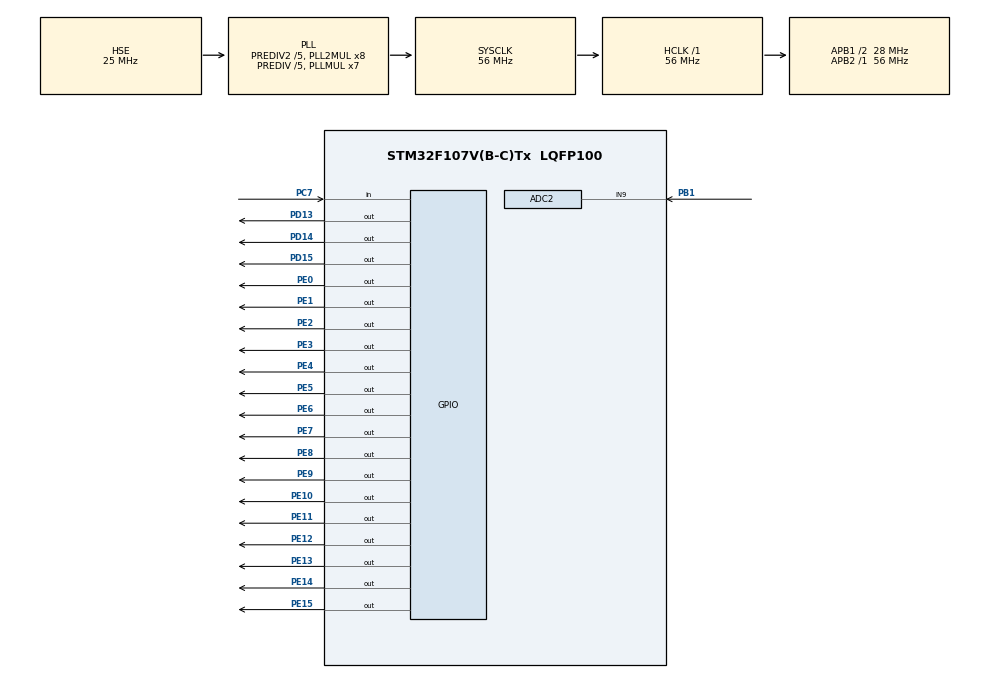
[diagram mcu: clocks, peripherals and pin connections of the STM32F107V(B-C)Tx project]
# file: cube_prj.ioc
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ADC2.Channel-0\#ChannelRegularConversion=ADC_CHANNEL_9
ADC2.ContinuousConvMode=ENABLE
ADC2.NbrOfConversionFlag=1
ADC2.Rank-0\#ChannelRegularConversion=1
ADC2.SamplingTime-0\#ChannelRegularConversion=ADC_SAMPLETIME_239CYCLES_5
Mcu.Family=STM32F1
Mcu.Name=STM32F107V(B-C)Tx
Mcu.Package=LQFP100
NVIC.ADC1_2_IRQn=true\:0\:0\:false\:false\:true
NVIC.PriorityGroup=NVIC_PRIORITYGROUP_1
OSC_IN.Mode=HSE-External-Oscillator
OSC_IN.Signal=RCC_OSC_IN
OSC_OUT.Mode=HSE-External-Oscillator
OSC_OUT.Signal=RCC_OSC_OUT
PA13.Mode=Serial_Wire
PA13.Signal=SYS_JTMS-SWDIO
PA14.Mode=Serial_Wire
PA14.Signal=SYS_JTCK-SWCLK
PB1.Signal=ADCx_IN9
PC14-OSC32_IN.Mode=LSE-External-Oscillator
PC14-OSC32_IN.Signal=RCC_OSC32_IN
PC15-OSC32_OUT.Mode=LSE-External-Oscillator
PC15-OSC32_OUT.Signal=RCC_OSC32_OUT
PC7.Signal=GPIO_Input
PD13.Signal=GPIO_Output
PD14.Signal=GPIO_Output
PD15.Signal=GPIO_Output
PE0.GPIO_Speed=GPIO_SPEED_HIGH
PE0.Signal=GPIO_Output
PE1.GPIO_Speed=GPIO_SPEED_HIGH
PE1.Signal=GPIO_Output
PE10.GPIO_Speed=GPIO_SPEED_HIGH
PE10.Signal=GPIO_Output
PE11.GPIO_Speed=GPIO_SPEED_HIGH
PE11.Signal=GPIO_Output
PE12.GPIO_Speed=GPIO_SPEED_HIGH
PE12.Signal=GPIO_Output
PE13.GPIO_Speed=GPIO_SPEED_HIGH
PE13.Signal=GPIO_Output
PE14.GPIO_Speed=GPIO_SPEED_HIGH
PE14.Signal=GPIO_Output
PE15.GPIO_Speed=GPIO_SPEED_HIGH
PE15.Signal=GPIO_Output
PE2.GPIO_Speed=GPIO_SPEED_HIGH
PE2.Signal=GPIO_Output
PE3.GPIO_Speed=GPIO_SPEED_HIGH
PE3.Signal=GPIO_Output
PE4.GPIO_Speed=GPIO_SPEED_HIGH
PE4.Signal=GPIO_Output
PE5.GPIO_Speed=GPIO_SPEED_HIGH
PE5.Signal=GPIO_Output
PE6.GPIO_Speed=GPIO_SPEED_HIGH
PE6.Signal=GPIO_Output
PE7.GPIO_Speed=GPIO_SPEED_HIGH
PE7.Signal=GPIO_Output
PE8.GPIO_Speed=GPIO_SPEED_HIGH
PE8.Signal=GPIO_Output
PE9.GPIO_Speed=GPIO_SPEED_HIGH
PE9.Signal=GPIO_Output
ProjectManager.HeapSize=0x400
ProjectManager.StackSize=0x200
ProjectManager.TargetToolchain=MDK-ARM V5
RCC.ADCPresc=RCC_ADCPCLK2_DIV4
RCC.AHBFreq_Value=56000000
RCC.APB1CLKDivider=RCC_HCLK_DIV2
RCC.APB1Freq_Value=28000000
RCC.APB1TimFreq_Value=56000000
RCC.APB2Freq_Value=56000000
RCC.APB2TimFreq_Value=56000000
RCC.HCLKFreq_Value=56000000
RCC.HSEDivPLL=RCC_HSE_PREDIV_DIV5
RCC.HSE_VALUE=25000000
RCC.HSIState=RCC_HSI_ON
RCC.PLLMUL=RCC_PLL_MUL7
RCC.PLLSourceVirtual=RCC_PLLSOURCE_HSE
RCC.Prediv1Source=RCC_PREDIV1_SOURCE_PLL2
RCC.Prediv2=RCC_HSE_PREDIV2_DIV5
RCC.SYSCLKFreq_VALUE=56000000
RCC.SYSCLKSource=RCC_SYSCLKSOURCE_PLLCLK
RCC.USBFreq_Value=37333333.333333336
SH.ADCx_IN9.0=ADC2_IN9,IN9
VP_CRC_VS_CRC.Mode=CRC_Activate
board=cube_prj

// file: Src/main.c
/**
  ******************************************************************************
  * File Name          : main.c
  * Description        : Main program body
  ******************************************************************************
  *
  * COPYRIGHT(c) 2016 STMicroelectronics
  *
  * Redistribution and use in source and binary forms, with or without modification,
  * are permitted provided that the following conditions are met:
  *   1. Redistributions of source code must retain the above copyright notice,
  *      this list of conditions and the following disclaimer.
  *   2. Redistributions in binary form must reproduce the above copyright notice,
  *      this list of conditions and the following disclaimer in the documentation
  *      and/or other materials provided with the distribution.
  *   3. Neither the name of STMicroelectronics nor the names of its contributors
  *      may be used to endorse or promote products derived from this software
  *      without specific prior written permission.
  *
  * THIS SOFTWARE IS PROVIDED BY THE COPYRIGHT HOLDERS AND CONTRIBUTORS "AS IS"
  * AND ANY EXPRESS OR IMPLIED WARRANTIES, INCLUDING, BUT NOT LIMITED TO, THE
  * IMPLIED WARRANTIES OF MERCHANTABILITY AND FITNESS FOR A PARTICULAR PURPOSE ARE
  * DISCLAIMED. IN NO EVENT SHALL THE COPYRIGHT HOLDER OR CONTRIBUTORS BE LIABLE
  * FOR ANY DIRECT, INDIRECT, INCIDENTAL, SPECIAL, EXEMPLARY, OR CONSEQUENTIAL
  * DAMAGES (INCLUDING, BUT NOT LIMITED TO, PROCUREMENT OF SUBSTITUTE GOODS OR
  * SERVICES; LOSS OF USE, DATA, OR PROFITS; OR BUSINESS INTERRUPTION) HOWEVER
  * CAUSED AND ON ANY THEORY OF LIABILITY, WHETHER IN CONTRACT, STRICT LIABILITY,
  * OR TORT (INCLUDING NEGLIGENCE OR OTHERWISE) ARISING IN ANY WAY OUT OF THE USE
  * OF THIS SOFTWARE, EVEN IF ADVISED OF THE POSSIBILITY OF SUCH DAMAGE.
  *
  ******************************************************************************
  */
#include "stm32f1xx_hal.h"
#include "adc.h"
#include "crc.h"
#include "gpio.h"

/* USER CODE BEGIN Includes */
#include "gui.h"            /**< STemwin */
#include "delay.h"
//#include "gui_clock.h"
//#include "clock.h"
//#include "led.h"
//#include "key.h"
//#include "app_led.h"
//#include "exti_dup.h"
//#include "tim_dup.h"
#include "adc_dup.h"

/* USER CODE END Includes */

/* USER CODE BEGIN PV */
/* Private variables ---------------------------------------------------------*/

/* USER CODE END PV */

void SystemClock_Config(void);

/* USER CODE BEGIN PFP */
/* Private function prototypes -----------------------------------------------*/

/* USER CODE END PFP */

/* USER CODE BEGIN 0 */

/**< 用于显示图片 */

/* USER CODE END 0 */

int main(void)
{

  /* USER CODE BEGIN 1 */
    uint32_t voltage = 0;

  /* USER CODE END 1 */

  /* MCU Configuration----------------------------------------------------------*/

  /* Reset of all peripherals, Initializes the Flash interface and the Systick. */
  HAL_Init();

  /* Configure the system clock */
  SystemClock_Config();

  /* Initialize all configured peripherals */
  MX_GPIO_Init();
  MX_CRC_Init();
  MX_ADC2_Init();

  /* USER CODE BEGIN 2 */
//    HAL_TIM_Base_Start_IT(&htim7);        /**< 使用定时器时添加 */
    HAL_ADCEx_Calibration_Start(&hadc2);
    HAL_ADC_Start_IT(&hadc2);

    GUI_Init();
    GUI_UC_SetEncodeUTF8();
    /** 显示电压值 */
    GUI_SetColor(GUI_RED);
    GUI_SetFont(&GUI_Font32B_ASCII);
    GUI_DispStringAt("Volt: ", 40, 150);
    GUI_DispStringAt(".", 136, 150);              /**< 小数点 */
    GUI_DispStringAt("V", 196, 150);              /**< 单位 */

//    draw_clock();

  /* USER CODE END 2 */

  /* Infinite loop */
  while (1)
  {

  /* USER CODE BEGIN 3 */
    if(read_adc_flag(ADC2_IN10))
    {
        voltage = ADC_get_value(&hadc2);
        GUI_DispDecAt(voltage / 1000,      120, 150, 1);  /**< 电压整数值 */
        GUI_DispDecAt(voltage % 1000 / 10, 145, 150, 2);  /**< 2位小数 */
        delay_ms(200);
    }

  }
  /* USER CODE END 3 */

}

/** System Clock Configuration
*/
void SystemClock_Config(void)
{

  RCC_OscInitTypeDef RCC_OscInitStruct;
  RCC_ClkInitTypeDef RCC_ClkInitStruct;
  RCC_PeriphCLKInitTypeDef PeriphClkInit;

  RCC_OscInitStruct.OscillatorType = RCC_OSCILLATORTYPE_HSE;
  RCC_OscInitStruct.HSEState = RCC_HSE_ON;
  RCC_OscInitStruct.HSEPredivValue = RCC_HSE_PREDIV_DIV5;
  RCC_OscInitStruct.Prediv1Source = RCC_PREDIV1_SOURCE_PLL2;
  RCC_OscInitStruct.PLL.PLLState = RCC_PLL_ON;
  RCC_OscInitStruct.PLL.PLLSource = RCC_PLLSOURCE_HSE;
  RCC_OscInitStruct.PLL.PLLMUL = RCC_PLL_MUL7;
  RCC_OscInitStruct.PLL2.PLL2State = RCC_PLL2_ON;
  RCC_OscInitStruct.PLL2.PLL2MUL = RCC_PLL2_MUL8;
  RCC_OscInitStruct.PLL2.HSEPrediv2Value = RCC_HSE_PREDIV2_DIV5;
  HAL_RCC_OscConfig(&RCC_OscInitStruct);

  RCC_ClkInitStruct.ClockType = RCC_CLOCKTYPE_HCLK|RCC_CLOCKTYPE_SYSCLK
                              |RCC_CLOCKTYPE_PCLK1|RCC_CLOCKTYPE_PCLK2;
  RCC_ClkInitStruct.SYSCLKSource = RCC_SYSCLKSOURCE_PLLCLK;
  RCC_ClkInitStruct.AHBCLKDivider = RCC_SYSCLK_DIV1;
  RCC_ClkInitStruct.APB1CLKDivider = RCC_HCLK_DIV2;
  RCC_ClkInitStruct.APB2CLKDivider = RCC_HCLK_DIV1;
  HAL_RCC_ClockConfig(&RCC_ClkInitStruct, FLASH_LATENCY_2);

  PeriphClkInit.PeriphClockSelection = RCC_PERIPHCLK_ADC;
  PeriphClkInit.AdcClockSelection = RCC_ADCPCLK2_DIV4;
  HAL_RCCEx_PeriphCLKConfig(&PeriphClkInit);

  HAL_SYSTICK_Config(HAL_RCC_GetHCLKFreq()/1000);

  HAL_SYSTICK_CLKSourceConfig(SYSTICK_CLKSOURCE_HCLK);

  __HAL_RCC_PLLI2S_ENABLE();

  /* SysTick_IRQn interrupt configuration */
  HAL_NVIC_SetPriority(SysTick_IRQn, 0, 0);
}

/************************ (C) COPYRIGHT STMicroelectronics *****END OF FILE****/
